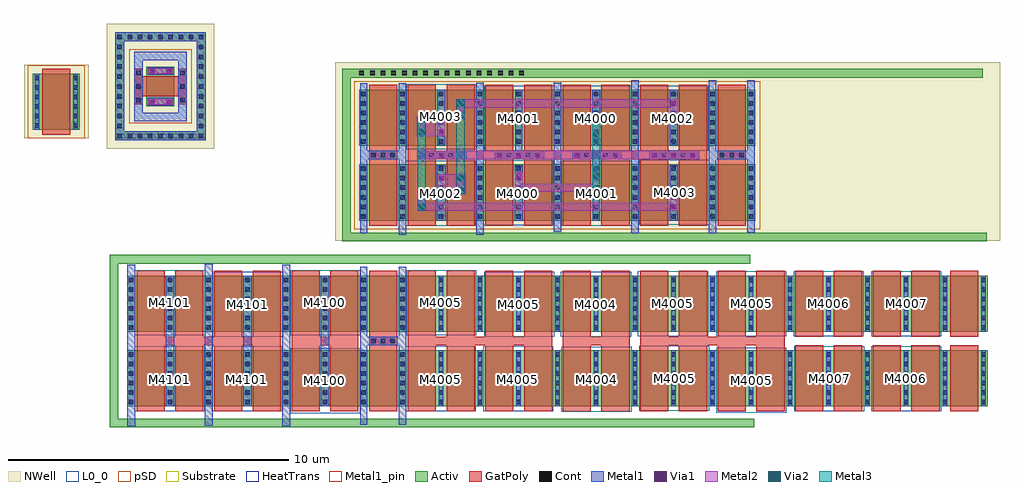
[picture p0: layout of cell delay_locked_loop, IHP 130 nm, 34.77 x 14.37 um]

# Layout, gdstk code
import gdstk
lib = gdstk.Library(unit=1e-6, precision=1e-09)
def R(c, l, rs):  # rectangles x0, y0, x1, y1
    for r in rs: c.add(gdstk.rectangle(r[:2], r[2:], *l))
def A(c, l, x, y, w, h, nx, ny, dx, dy):  # array of equal rectangles
    R(c, l, [(x+i*dx, y+j*dy, x+i*dx+w, y+j*dy+h) for i in range(nx) for j in range(ny)])
def P(c, l, *ps):  # polygons
    for p in ps: c.add(gdstk.Polygon(p, *l))
L0_0 = (0, 0)
Activ = (1, 0)
GatPoly = (5, 0)
Cont = (6, 0)
Metal1 = (8, 0)
Metal1_pin = (8, 2)
Metal2 = (10, 0)
pSD = (14, 0)
Via1 = (19, 0)
Via2 = (29, 0)
Metal3 = (30, 0)
NWell = (31, 0)
Substrate = (40, 0)
HeatTrans = (51, 0)

rfpmos = lib.new_cell('rfpmos')
R(rfpmos, Activ, [(1.42,1.525,2.42,2.935)])
P(rfpmos, Activ, [(0.31,0.31),(0.31,3.83),(0.63,3.83),(0.63,0.63),(3.21,0.63),(3.21,3.83),(0.31,3.83),(0.31,4.15),(3.53,4.15),(3.53,0.31)])
R(rfpmos, GatPoly, [(0.99,1.6,1.29,2.86), (2.55,1.6,2.85,2.86), (1.29,1.87,2.55,2.59)])
A(rfpmos, Cont, 0.39, 0.39, 0.16, 0.16, 1, 3, 0, 0.35)
A(rfpmos, Cont, 3.29, 0.39, 0.16, 0.16, 1, 3, 0, 0.35)
A(rfpmos, Cont, 1.06, 1.67, 0.16, 0.16, 1, 3, 0, 0.48)
A(rfpmos, Cont, 2.62, 1.67, 0.16, 0.16, 1, 3, 0, 0.48)
R(rfpmos, Cont, [(0.75,0.39,0.91,0.55), (1.115,0.39,1.275,0.55), (1.475,0.39,1.635,0.55), (1.84,0.39,2,0.55), (2.2,0.39,2.36,0.55), (2.565,0.39,2.725,0.55), (2.925,0.39,3.085,0.55), (0.39,1.445,0.55,1.605), (3.29,1.445,3.45,1.605), (1.52,1.6,1.68,1.76), (2.16,1.6,2.32,1.76), (0.39,1.795,0.55,1.955), (3.29,1.795,3.45,1.955), (0.39,2.15,0.55,2.31), (3.29,2.15,3.45,2.31), (0.39,2.5,0.55,2.66), (3.29,2.5,3.45,2.66), (1.52,2.7,1.68,2.86), (2.16,2.7,2.32,2.86), (0.39,2.855,0.55,3.015), (3.29,2.855,3.45,3.015), (0.39,3.205,0.55,3.365), (3.29,3.205,3.45,3.365), (0.39,3.56,0.55,3.72), (3.29,3.56,3.45,3.72), (0.39,3.91,0.55,4.07), (0.75,3.91,0.91,4.07), (1.115,3.91,1.275,4.07), (1.475,3.91,1.635,4.07), (1.84,3.91,2,4.07), (2.2,3.91,2.36,4.07), (2.565,3.91,2.725,4.07), (2.925,3.91,3.085,4.07), (3.29,3.91,3.45,4.07)])
R(rfpmos, Metal1, [(0.31,0.31,3.53,0.63), (0.31,0.63,0.63,3.83), (3.21,0.63,3.53,3.83), (1.47,1.54,2.37,1.82), (1.04,1.62,1.24,2.84), (2.6,1.62,2.8,2.84), (1.47,2.64,2.37,2.92), (0.31,3.83,3.53,4.15)])
P(rfpmos, Metal1, [(0.99,0.99),(0.99,3.17),(1.29,3.17),(1.29,1.29),(2.55,1.29),(2.55,3.17),(0.99,3.17),(0.99,3.47),(2.85,3.47),(2.85,0.99)])
R(rfpmos, Metal1_pin, [(0.31,0.39,3.53,0.55), (0.31,0.39,3.53,0.55), (1.47,1.54,2.37,1.82), (1.47,1.54,2.37,1.82), (1.04,1.62,1.24,2.84), (1.04,1.62,1.24,2.84), (1.47,2.64,2.37,2.92), (1.47,2.64,2.37,2.92)])
R(rfpmos, Metal2, [(1.47,1.58,2.37,1.78), (1.47,2.68,2.37,2.88)])
R(rfpmos, pSD, [(0.81,0.91,3.03,3.55)])
R(rfpmos, Via1, [(1.52,1.585,1.71,1.775), (2.13,1.585,2.32,1.775), (1.52,2.685,1.71,2.875), (2.13,2.685,2.32,2.875)])
R(rfpmos, NWell, [(0,0,3.84,4.46)])
rfpmos.add(gdstk.Label('S', (1.92,1.697), layer=63, texttype=0))
rfpmos.add(gdstk.Label('D', (1.92,2.798), layer=63, texttype=0))
rfpmos.add(gdstk.Label('G', (1.14,2.23), layer=63, texttype=0))
rfpmos.add(gdstk.Label('TIE', (1.92,0.47), layer=63, texttype=0))
rfpmos.add(gdstk.Label('rfpmos', (1.92,3.99), layer=63, texttype=0))

pmos = lib.new_cell('pmos')
R(pmos, Activ, [(0,0,0.3,0.3), (0,0,1.68,2), (1.38,0,1.68,0.3)])
R(pmos, GatPoly, [(0.34,-0.18,1.34,2.18), (0.34,-0.18,1.34,2.18)])
A(pmos, Cont, 0.07, 0.07, 0.16, 0.16, 1, 6, 0, 0.34)
A(pmos, Cont, 1.45, 0.07, 0.16, 0.16, 1, 6, 0, 0.34)
R(pmos, Metal1, [(0.07,0,0.23,2), (0.07,0,0.23,2), (1.45,0,1.61,2), (1.45,0,1.61,2)])
R(pmos, pSD, [(-0.18,-0.3,1.86,2.3)])
R(pmos, NWell, [(-0.31,-0.31,1.99,2.31)])
R(pmos, Substrate, [(1.38,0,1.68,0.3)])
R(pmos, HeatTrans, [(0.34,-0.18,1.34,2.18)])
pmos.add(gdstk.Label('pmos', (0.84,1), layer=63, texttype=0))
pmos.add(gdstk.Label('pmos', (0.84,1), layer=51, texttype=0))

delay_locked_loop = lib.new_cell('delay_locked_loop')
R(delay_locked_loop, L0_0, [(-2.465,1.355,0.035,3.67), (12.71,1.38,15.21,3.695), (7.19,1.41,9.69,3.725), (-8.01,1.42,-5.51,3.735), (1.65,1.42,4.15,3.735), (15.48,1.425,17.98,3.74), (-5.26,1.43,-2.76,3.745), (4.4,1.43,6.9,3.745), (18.225,1.435,20.725,3.75), (9.965,1.45,12.465,3.765), (-5.22,4.09,-2.72,6.405), (4.44,4.09,6.94,6.405), (7.175,4.09,9.675,6.405), (9.915,4.095,12.415,6.41), (12.7,4.095,15.2,6.41), (15.46,4.095,17.96,6.41), (15.46,4.095,17.96,6.41), (18.225,4.095,20.725,6.41), (-8,4.135,-5.5,6.45), (-8,4.135,-5.5,6.45), (1.66,4.135,4.16,6.45), (1.66,4.135,4.16,6.45), (-2.465,4.14,0.035,6.455), (7.19,8.03,9.69,10.345), (1.65,8.04,4.15,10.355), (4.4,8.05,6.9,10.365), (9.965,8.07,12.465,10.385), (4.44,10.71,6.94,13.025), (7.175,10.71,9.675,13.025), (9.915,10.715,12.415,13.03), (1.66,10.755,4.16,13.07)])
R(delay_locked_loop, Activ, [(-8.28,1.6,22.38,3.6), (-8.28,4.26,22.38,6.26), (0,8.22,14.1,10.22), (0,10.88,14.1,12.88)])
P(delay_locked_loop, Activ, [(-0.62,7.48),(-0.62,13.62),(22.195,13.62),(22.195,13.31),(-0.31,13.31),(-0.31,7.79),(22.335,7.79),(22.335,7.48)],
  [(-8.9,0.86),(-8.9,7),(13.915,7),(13.915,6.69),(-8.59,6.69),(-8.59,1.17),(14.055,1.17),(14.055,0.86)])
A(delay_locked_loop, GatPoly, 15.52, 1.42, 1, 2.36, 5, 1, 1.38, 0)
A(delay_locked_loop, GatPoly, 16.9, 4.08, 1, 2.36, 4, 1, 1.38, 0)
A(delay_locked_loop, GatPoly, 1.72, 8.04, 1, 2.36, 4, 1, 1.38, 0)
A(delay_locked_loop, GatPoly, 5.86, 8.04, 1, 2.36, 5, 1, 1.38, 0)
A(delay_locked_loop, GatPoly, 1.72, 10.7, 1, 2.36, 8, 1, 1.38, 0)
R(delay_locked_loop, GatPoly, [(0.34,1.42,1.34,6.44), (15.52,4.08,16.52,6.44), (15.52,4.08,16.52,6.44), (16.9,4.08,17.9,6.44), (0.34,8.04,1.34,13.06), (12.76,8.04,13.76,13.06), (1.72,10.4,12.38,10.7)])
P(delay_locked_loop, GatPoly, [(1.72,1.42),(1.72,6.44),(2.72,6.44),(2.72,4.08),(3.1,4.08),(3.1,6.44),(4.1,6.44),(4.1,4.08),(4.48,4.08),(4.48,6.44),(5.48,6.44),(5.48,4.08),(5.86,4.08),(5.86,6.44),(6.86,6.44),(6.86,1.42),(5.86,1.42),(5.86,3.78),(5.48,3.78),(5.48,1.42),(4.48,1.42),(4.48,3.78),(4.1,3.78),(4.1,1.42),(3.1,1.42),(3.1,3.78),(2.72,3.78),(2.72,1.42)],
  [(7.24,1.42),(7.24,6.44),(8.24,6.44),(8.24,4.08),(8.62,4.08),(8.62,6.44),(9.62,6.44),(9.62,1.42),(8.62,1.42),(8.62,3.78),(8.24,3.78),(8.24,1.42)],
  [(10,1.42),(10,6.44),(11,6.44),(11,4.08),(11.38,4.08),(11.38,6.44),(12.38,6.44),(12.38,4.08),(12.76,4.08),(12.76,6.44),(13.76,6.44),(13.76,4.08),(14.14,4.08),(14.14,6.44),(15.14,6.44),(15.14,1.42),(14.14,1.42),(14.14,3.78),(13.76,3.78),(13.76,1.42),(12.76,1.42),(12.76,3.78),(12.38,3.78),(12.38,1.42),(11.38,1.42),(11.38,3.78),(11,3.78),(11,1.42)],
  [(-2.42,1.42),(-2.42,6.44),(-1.42,6.44),(-1.42,4.08),(-1.04,4.08),(-1.04,6.44),(-0.04,6.44),(-0.04,1.42),(-1.04,1.42),(-1.04,3.78),(-1.42,3.78),(-1.42,1.42)],
  [(-7.94,1.42),(-7.94,6.44),(-6.94,6.44),(-6.94,4.08),(-6.56,4.08),(-6.56,6.44),(-5.56,6.44),(-5.56,4.08),(-5.18,4.08),(-5.18,6.44),(-4.18,6.44),(-4.18,4.08),(-3.8,4.08),(-3.8,6.44),(-2.8,6.44),(-2.8,1.42),(-3.8,1.42),(-3.8,3.78),(-4.18,3.78),(-4.18,1.42),(-5.18,1.42),(-5.18,3.78),(-5.56,3.78),(-5.56,1.42),(-6.56,1.42),(-6.56,3.78),(-6.94,3.78),(-6.94,1.42)])
A(delay_locked_loop, Cont, -8.21, 1.67, 0.16, 0.16, 23, 6, 1.38, 0.34)
A(delay_locked_loop, Cont, 0.42, 3.85, 0.16, 0.16, 3, 2, 0.34, 6.62)
A(delay_locked_loop, Cont, -8.21, 4.33, 0.16, 0.16, 18, 6, 1.38, 0.34)
A(delay_locked_loop, Cont, 15.25, 4.33, 0.16, 0.16, 1, 6, 0, 0.34)
A(delay_locked_loop, Cont, 18.01, 4.33, 0.16, 0.16, 1, 6, 0, 0.34)
A(delay_locked_loop, Cont, 18.01, 4.33, 0.16, 0.16, 4, 6, 1.38, 0.34)
A(delay_locked_loop, Cont, 0.07, 8.29, 0.16, 0.16, 11, 6, 1.38, 0.34)
A(delay_locked_loop, Cont, 2.15, 10.47, 0.16, 0.16, 5, 1, 0.34, 0)
A(delay_locked_loop, Cont, 4.91, 10.47, 0.16, 0.16, 5, 1, 0.34, 0)
A(delay_locked_loop, Cont, 7.67, 10.47, 0.16, 0.16, 5, 1, 0.34, 0)
A(delay_locked_loop, Cont, 10.43, 10.47, 0.16, 0.16, 5, 1, 0.34, 0)
A(delay_locked_loop, Cont, 12.84, 10.47, 0.16, 0.16, 3, 1, 0.34, 0)
A(delay_locked_loop, Cont, 0.07, 10.95, 0.16, 0.16, 11, 6, 1.38, 0.34)
A(delay_locked_loop, Cont, -0.005, 13.39, 0.16, 0.16, 16, 1, 0.38, 0)
R(delay_locked_loop, Cont, [(16.63,4.33,16.79,4.49), (16.63,4.33,16.79,4.49), (16.63,4.67,16.79,4.83), (16.63,4.67,16.79,4.83), (16.63,5.01,16.79,5.17), (16.63,5.01,16.79,5.17), (16.63,5.35,16.79,5.51), (16.63,5.35,16.79,5.51), (16.63,5.69,16.79,5.85), (16.63,5.69,16.79,5.85), (16.63,6.03,16.79,6.19), (16.63,6.03,16.79,6.19)])
A(delay_locked_loop, Metal1, -6.895, 1.6, 0.29, 4.66, 3, 1, 2.76, 0)
A(delay_locked_loop, Metal1, 2.83, 1.6, 0.16, 2, 15, 1, 1.38, 0)
A(delay_locked_loop, Metal1, 2.83, 4.26, 0.16, 2, 10, 1, 1.38, 0)
A(delay_locked_loop, Metal1, 18.01, 4.26, 0.16, 2, 4, 1, 1.38, 0)
R(delay_locked_loop, Metal1, [(-8.275,0.89,-7.985,6.655), (-2.755,0.89,-2.465,6.655), (-5.515,0.92,-5.225,6.675), (15.25,4.26,15.41,6.26), (16.63,4.26,16.79,6.26), (16.63,4.26,16.79,6.26), (18.01,4.26,18.17,6.26), (4.16,7.72,4.42,13.13), (9.68,7.775,9.94,13.22), (6.92,7.82,7.18,13.135), (2.745,8.22,3.075,10.2), (5.525,8.22,5.815,10.2), (11.045,8.22,11.335,10.2), (2.05,10.4,3.815,10.7), (10.33,10.4,12.095,10.7), (2.765,10.9,3.055,12.88), (8.285,10.9,8.575,12.88), (11.045,10.9,11.335,12.88)])
P(delay_locked_loop, Metal1, [(0.02,0.94),(0.02,6.58),(0.28,6.58),(0.28,4.08),(1.4,4.08),(1.4,6.575),(1.66,6.575),(1.66,0.94),(1.4,0.94),(1.4,3.78),(0.28,3.78),(0.28,0.94)],
  [(1.4,7.71),(1.4,10.4),(0.28,10.4),(0.28,7.765),(0.02,7.765),(0.02,13.12),(0.28,13.12),(0.28,10.7),(1.4,10.7),(1.4,13.12),(1.66,13.12),(1.66,7.71)],
  [(12.44,7.77),(12.44,13.21),(12.7,13.21),(12.7,10.7),(13.82,10.7),(13.82,13.215),(14.08,13.215),(14.08,7.795),(13.82,7.795),(13.82,10.4),(12.7,10.4),(12.7,7.77)],
  [(4.81,10.4),(4.81,10.7),(5.54,10.7),(5.54,12.88),(5.8,12.88),(5.8,10.7),(6.575,10.7),(6.575,10.4)],
  [(8.3,8.22),(8.3,10.4),(7.57,10.4),(7.57,10.7),(9.335,10.7),(9.335,10.4),(8.56,10.4),(8.56,8.22)])
R(delay_locked_loop, Metal1_pin, [(16.63,1.6,16.79,3.6), (18.01,1.6,18.17,3.6), (20.77,1.6,20.93,3.6), (22.15,1.6,22.31,3.6), (16.63,4.26,16.79,6.26), (16.63,4.26,16.79,6.26), (18.01,4.26,18.17,6.26), (18.01,4.26,18.17,6.26), (20.77,4.26,20.93,6.26), (22.15,4.26,22.31,6.26)])
R(delay_locked_loop, Metal2, [(2.765,9.155,3.78,9.875), (2.05,10.4,12.095,10.7), (8.285,11.135,8.575,11.855), (2.04,11.225,3.055,11.945)])
P(delay_locked_loop, Metal2, [(5.525,9.245),(5.525,9.965),(5.815,9.965),(5.815,9.535),(8.285,9.535),(8.285,9.965),(8.575,9.965),(8.575,9.245)],
  [(2.075,8.565),(2.075,9.285),(2.365,9.285),(2.365,8.855),(11.045,8.855),(11.045,9.285),(11.335,9.285),(11.335,8.565)],
  [(3.455,11.815),(3.455,12.535),(11.335,12.535),(11.335,11.815),(11.045,11.815),(11.045,12.245),(3.745,12.245),(3.745,11.815)])
R(delay_locked_loop, pSD, [(-0.18,7.92,14.28,13.18)])
A(delay_locked_loop, Via1, 2.135, 10.455, 0.19, 0.19, 3, 1, 0.68, 0)
A(delay_locked_loop, Via1, 4.895, 10.455, 0.19, 0.19, 3, 1, 0.68, 0)
A(delay_locked_loop, Via1, 7.655, 10.455, 0.19, 0.19, 3, 1, 0.68, 0)
A(delay_locked_loop, Via1, 10.415, 10.455, 0.19, 0.19, 3, 1, 0.68, 0)
R(delay_locked_loop, Via1, [(11.095,8.615,11.285,8.805), (11.095,9.045,11.285,9.235), (2.815,9.205,3.005,9.395), (5.575,9.295,5.765,9.485), (2.815,9.635,3.005,9.825), (5.575,9.725,5.765,9.915), (8.335,11.185,8.525,11.375), (2.815,11.275,3.005,11.465), (8.335,11.615,8.525,11.805), (2.815,11.705,3.005,11.895), (11.095,11.865,11.285,12.055), (11.095,12.295,11.285,12.485)])
R(delay_locked_loop, Via2, [(2.125,8.615,2.315,8.805), (2.125,9.045,2.315,9.235), (3.505,9.205,3.695,9.395), (8.335,9.295,8.525,9.485), (3.505,9.635,3.695,9.825), (8.335,9.725,8.525,9.915), (8.335,11.185,8.525,11.375), (2.125,11.275,2.315,11.465), (8.335,11.615,8.525,11.805), (2.125,11.705,2.315,11.895), (3.505,11.87,3.695,12.06), (3.505,12.3,3.695,12.49)])
R(delay_locked_loop, Metal3, [(2.075,8.565,2.365,11.945), (3.455,9.17,3.745,12.54), (8.285,9.245,8.575,11.855)])
R(delay_locked_loop, NWell, [(-0.86,7.5,22.815,13.86)])
delay_locked_loop.add(gdstk.Reference(rfpmos, (-9.01,10.77)))
delay_locked_loop.add(gdstk.Reference(pmos, (-11.64,11.455)))
delay_locked_loop.add(gdstk.Label('M4004', (8.415,5.245), layer=0, texttype=0))
delay_locked_loop.add(gdstk.Label('M4005', (11.155,5.25), layer=0, texttype=0))
delay_locked_loop.add(gdstk.Label('M4005', (2.89,2.575), layer=0, texttype=0))
delay_locked_loop.add(gdstk.Label('M4004', (8.43,2.565), layer=0, texttype=0))
delay_locked_loop.add(gdstk.Label('M4005', (2.9,5.29), layer=0, texttype=0))
delay_locked_loop.add(gdstk.Label('M4005', (11.205,2.605), layer=0, texttype=0))
delay_locked_loop.add(gdstk.Label('M4005', (5.68,5.245), layer=0, texttype=0))
delay_locked_loop.add(gdstk.Label('M4005', (5.645,2.575), layer=0, texttype=0))
delay_locked_loop.add(gdstk.Label('M4005', (13.97,2.535), layer=0, texttype=0))
delay_locked_loop.add(gdstk.Label('M4005', (13.96,5.25), layer=0, texttype=0))
delay_locked_loop.add(gdstk.Label('M4006', (16.72,5.25), layer=0, texttype=0))
delay_locked_loop.add(gdstk.Label('M4007', (16.74,2.58), layer=0, texttype=0))
delay_locked_loop.add(gdstk.Label('M4007', (19.485,5.25), layer=0, texttype=0))
delay_locked_loop.add(gdstk.Label('M4006', (16.72,5.25), layer=0, texttype=0))
delay_locked_loop.add(gdstk.Label('M4006', (19.465,2.58), layer=0, texttype=0))
delay_locked_loop.add(gdstk.Label('M4100', (-1.255,5.32), layer=0, texttype=0))
delay_locked_loop.add(gdstk.Label('M4100', (-1.255,2.535), layer=0, texttype=0))
delay_locked_loop.add(gdstk.Label('M4101', (-6.77,2.575), layer=0, texttype=0))
delay_locked_loop.add(gdstk.Label('M4101', (-6.76,5.29), layer=0, texttype=0))
delay_locked_loop.add(gdstk.Label('M4101', (-3.98,5.245), layer=0, texttype=0))
delay_locked_loop.add(gdstk.Label('M4101', (-4.015,2.575), layer=0, texttype=0))
delay_locked_loop.add(gdstk.Label('M4000', (8.415,11.865), layer=0, texttype=0))
delay_locked_loop.add(gdstk.Label('M4002', (11.155,11.87), layer=0, texttype=0))
delay_locked_loop.add(gdstk.Label('M4002', (2.89,9.195), layer=0, texttype=0))
delay_locked_loop.add(gdstk.Label('M4001', (8.43,9.185), layer=0, texttype=0))
delay_locked_loop.add(gdstk.Label('M4003', (2.9,11.91), layer=0, texttype=0))
delay_locked_loop.add(gdstk.Label('M4003', (11.205,9.225), layer=0, texttype=0))
delay_locked_loop.add(gdstk.Label('M4001', (5.68,11.865), layer=0, texttype=0))
delay_locked_loop.add(gdstk.Label('M4000', (5.645,9.195), layer=0, texttype=0))

lib.write_gds('delay_locked_loop.gds')
